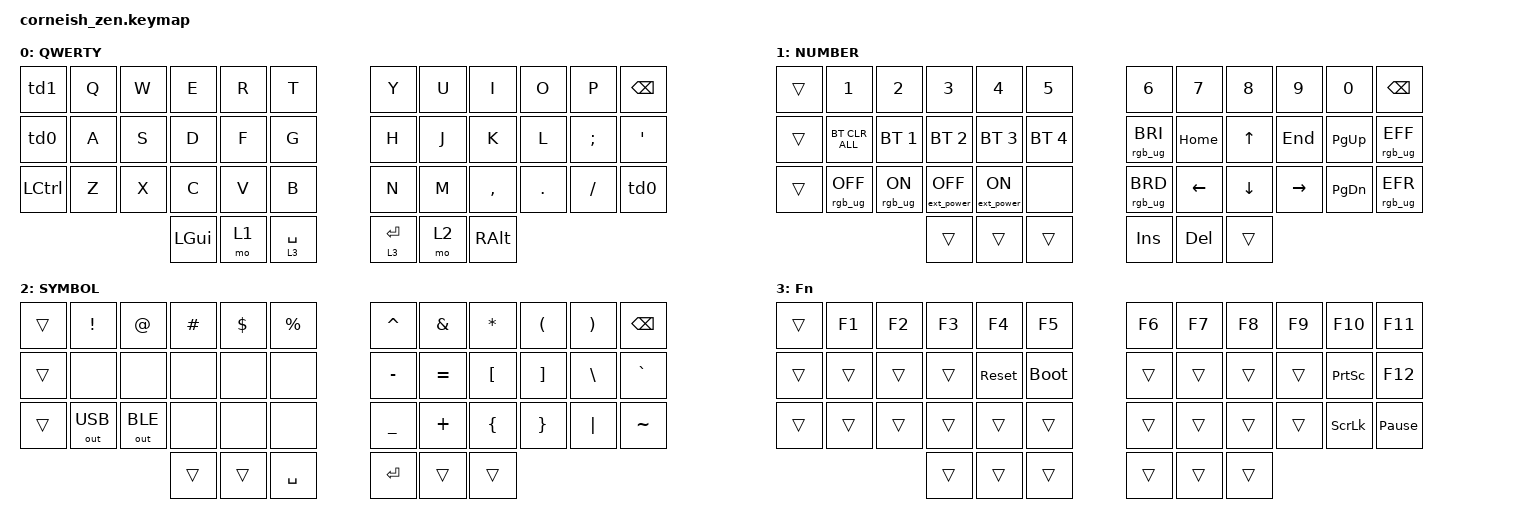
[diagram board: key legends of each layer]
/*
 * Copyright (c) 2020 The ZMK Contributors
 *
 * SPDX-License-Identifier: MIT
 */

#include <behaviors.dtsi>
#include <dt-bindings/zmk/bt.h>
#include <dt-bindings/zmk/ext_power.h>
#include <dt-bindings/zmk/keys.h>
#include <dt-bindings/zmk/outputs.h>
#include <dt-bindings/zmk/rgb.h>

/ {
    chosen {
        zmk,matrix_transform = &default_transform;

        // zmk,matrix_transform = &five_column_transform;
    };
};

/ {
    behaviors {
        td0: td0 {
            compatible = "zmk,behavior-tap-dance";
            label = "TD0";
            #binding-cells = <0>;
            bindings = <&kp LEFT_SHIFT>, <&kp CAPS>;
        };

        td1: td1 {
            compatible = "zmk,behavior-tap-dance";
            label = "TD1";
            #binding-cells = <0>;
            bindings = <&kp TAB>, <&kp ESC>;
        };
    };

    keymap {
        compatible = "zmk,keymap";

        default_layer {
            display-name = "QWERTY";

            // --------------------------------------------------------------------------------
            // |  TAB |  Q  |  W  |  E  |  R  |  T  |   |  Y  |  U   |  I  |  O  |  P  | BKSP |
            // | SHFT |  A  |  S  |  D  |  F  |  G  |   |  H  |  J   |  K  |  L  |  ;  |  '   | 
            // | CTRL |  Z  |  X  |  C  |  V  |  B  |   |  N  |  M   |  ,  |  .  |  /  | SHFT |
            //                    | GUI | 1st | SPC |   | ENT | 2nd  | ALT |

            bindings = <
&td1       &kp Q  &kp W  &kp E     &kp R  &kp T          &kp Y        &kp U  &kp I      &kp O    &kp P     &kp BSPC
&td0       &kp A  &kp S  &kp D     &kp F  &kp G          &kp H        &kp J  &kp K      &kp L    &kp SEMI  &kp SQT
&kp LCTRL  &kp Z  &kp X  &kp C     &kp V  &kp B          &kp N        &kp M  &kp COMMA  &kp DOT  &kp FSLH  &td0
                         &kp LGUI  &mo 1  &lt 3 SPACE    &lt 3 ENTER  &mo 2  &kp RALT
            >;
        };

        lower_layer {
            display-name = "NUMBER";

            // -----------------------------------------------------------------------------------------
            // |  TAB |  1  |  2  |  3  |  4  |  5  |   |  6   |  7  |  8  |  9  |  0   | BKSP |
            // | SHFT |BTCLR| BT1 | BT2 | BT3 | BT4 |   |RGBBRI| HOME| UP  | END | PGUP |RGBEFF|
            // | CTRL |RGBOF|RGBON|EPOFF| EPON|     |   |RGBBRD| LFT | DWN | RGT | PGDN |RGBEFR|
            //                    | GUI | 1st | SPC |   | INS  | DEL | ALT |

            bindings = <
&trans  &kp N1           &kp N2          &kp N3             &kp N4            &kp N5        &kp N6          &kp N7    &kp N8     &kp N9     &kp N0       &kp BSPC
&trans  &bt BT_CLR_ALL   &bt BT_SEL 1    &bt BT_SEL 2       &bt BT_SEL 3      &bt BT_SEL 4  &rgb_ug RGB_BRI &kp HOME  &kp UP     &kp END    &kp PG_UP    &rgb_ug RGB_EFF
&trans  &rgb_ug RGB_OFF  &rgb_ug RGB_ON  &ext_power EP_OFF  &ext_power EP_ON  &none         &rgb_ug RGB_BRD &kp LEFT  &kp DOWN   &kp RIGHT  &kp PG_DN    &rgb_ug RGB_EFR
                                         &trans             &trans            &trans        &kp INS         &kp DEL   &trans
            >;
        };

        raise_layer {
            display-name = "SYMBOL";

            // -----------------------------------------------------------------------------------------
            // |  TAB |  !   |  @   |  #  |  $  |  %  |   |  ^  |  &  |  *  |  (  |  )  | BKSP |
            // | SHFT |      |      |     |     |     |   |  -  |  =  |  [  |  ]  |  \  |  `   |
            // | CTRL |OUTUSB|OUTBLE|     |     |     |   |  _  |  +  |  {  |  }  | "|" |  ~   |
            //                    | GUI | 1st | SPC |   | ENT | DEL | ALT |

            bindings = <
&trans  &kp EXCL      &kp AT        &kp HASH  &kp DLLR  &kp PRCNT    &kp CARET  &kp AMPS   &kp ASTRK  &kp LPAR  &kp RPAR  &kp BSPC
&trans  &none         &none         &none     &none     &none        &kp MINUS  &kp EQUAL  &kp LBKT   &kp RBKT  &kp BSLH  &kp GRAVE
&trans  &out OUT_USB  &out OUT_BLE  &none     &none     &none        &kp UNDER  &kp PLUS   &kp LBRC   &kp RBRC  &kp PIPE  &kp TILDE
                                    &trans    &trans    &kp SPACE    &kp RET    &trans     &trans
            >;
        };

        layer_3 {
            display-name = "Fn";
            bindings = <
&trans  &kp F1  &kp F2  &kp F3  &kp F4      &kp F5         &kp F6       &kp F7  &kp F8  &kp F9  &kp F10          &kp F11
&trans  &trans  &trans  &trans  &sys_reset  &bootloader    &trans       &trans  &trans  &trans  &kp PRINTSCREEN  &kp F12
&trans  &trans  &trans  &trans  &trans      &trans         &trans       &trans  &trans  &trans  &kp SCROLLLOCK   &kp PAUSE_BREAK
                        &trans  &trans      &trans         &trans       &trans  &trans
            >;
        };
    };
};
